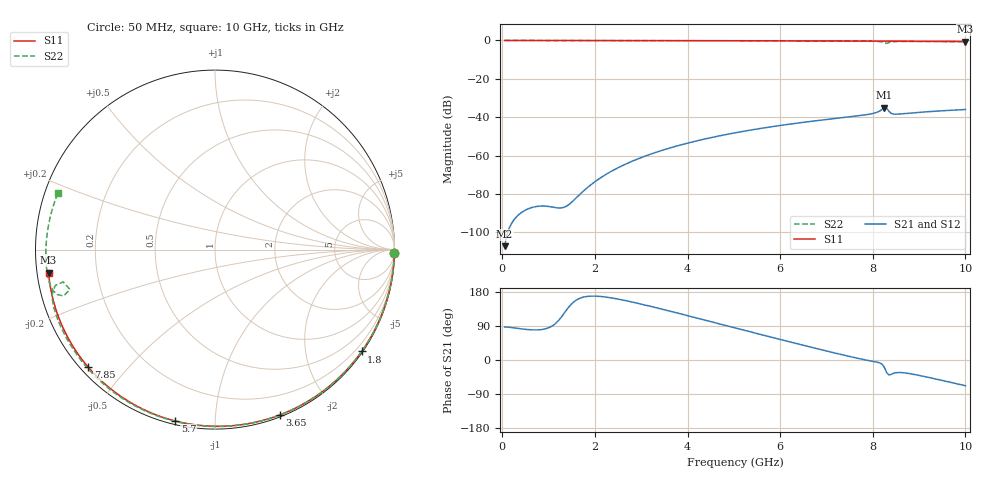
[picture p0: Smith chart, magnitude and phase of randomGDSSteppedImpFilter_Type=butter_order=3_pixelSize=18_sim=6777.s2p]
! freq	dB(S11)	phase(S11)	dB(S12)	phase(S12)
!  dB(S21)	phase(S21)	dB(S22)	phase(S22)
!S-par simulation data
#  GHz  S  DB  R 50
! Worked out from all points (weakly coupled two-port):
!   200 points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, 50 MHz to 10 GHz, reference 50 ohm
!   highest |S21| = -35.05 dB at 8.25 GHz (marker M1); lowest = -107.2 dB at 50 MHz (marker M2)
!   lowest |S11| = -0.6 dB at 10 GHz (marker M3), VSWR 30.37, Z = 1.65 - j3.47 ohm
!   |S11| at or under -10 dB: nowhere
!   |S22| runs from -1.5 to 0.0 dB; largest |S21 - S12| = 0
!   S11 on the Smith chart (normalised r, x): 50 MHz: open; 1.8 GHz: 0.03, -3.19; 3.65 GHz: 0.02, -1.47; 5.7 GHz: 0.02, -0.80; 7.85 GHz: 0.02, -0.39; 10 GHz: 0.03, -0.07
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0.05  -0.00 -1.0  -107.20 87.1  -107.20 87.1  -0.00 -1.1
0.85  -0.02 -16.6  -86.29 80.4  -86.29 80.4  -0.02 -19.1
1.65  -0.04 -31.9  -80.77 161.6  -80.77 161.6  -0.05 -36.7
1.75  -0.04 -33.8  -78.51 165.9  -78.51 165.9  -0.05 -38.9
1.8  -0.04 -34.8  -77.45 167.2  -77.45 167.2  -0.05 -40.0
2.1  -0.05 -40.4  -71.92 167.9  -71.92 167.9  -0.06 -46.4
2.45  -0.06 -46.9  -66.95 161.9  -66.95 161.9  -0.07 -53.9
2.9  -0.07 -55.1  -61.98 150.3  -61.98 150.3  -0.08 -63.2
3.4  -0.09 -64.1  -57.65 135.7  -57.65 135.7  -0.10 -73.4
3.65  -0.09 -68.5  -55.81 128.0  -55.81 128.0  -0.10 -78.4
4.35  -0.12 -80.6  -51.47 106.0  -51.47 106.0  -0.13 -92.2
5.05  -0.14 -92.4  -48.02 83.9  -48.02 83.9  -0.16 -105.5
5.7  -0.17 -103.0  -45.38 63.5  -45.38 63.5  -0.20 -117.6
6.7  -0.23 -119.0  -42.07 32.8  -42.07 32.8  -0.26 -136.1
7.85  -0.32 -137.1  -38.74 -0.0  -38.74 -0.0  -0.39 -158.2
8.15  -0.35 -141.8  -36.78 -7.6  -36.78 -7.6  -0.61 -165.8
8.25  -0.36 -143.4  -35.05 -19.2  -35.05 -19.2  -1.26 -168.0
8.3  -0.36 -144.2  -35.29 -33.3  -35.29 -33.3  -1.53 -164.7
8.35  -0.37 -145.0  -36.95 -39.6  -36.95 -39.6  -1.09 -163.0
8.45  -0.38 -146.6  -38.38 -35.1  -38.38 -35.1  -0.63 -165.7
8.9  -0.43 -153.8  -37.66 -38.2  -37.66 -38.2  -0.50 -176.4
10  -0.57 -172.1  -35.98 -67.8  -35.98 -67.8  -0.63 160.1
